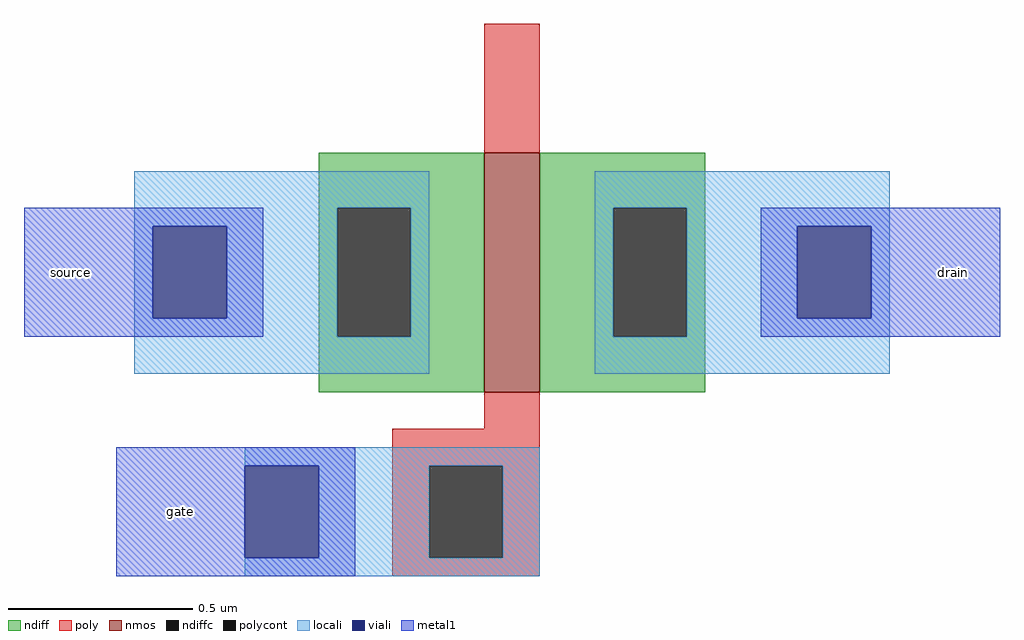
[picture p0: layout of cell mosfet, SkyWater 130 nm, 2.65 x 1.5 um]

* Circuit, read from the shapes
.subckt mosfet drain gate source
XM1 drain gate source VSUBS sky130_fd_pr__nfet_01v8 w=0.65 l=0.15
.ends

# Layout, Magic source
magic
tech sky130A
<< nmos >>
rect 5 30 20 95
<< ndiff >>
rect -40 80 5 95
rect -40 45 -35 80
rect -15 45 5 80
rect -40 30 5 45
rect 20 80 65 95
rect 20 45 40 80
rect 60 45 65 80
rect 20 30 65 45
<< ndiffc >>
rect -35 45 -15 80
rect 40 45 60 80
<< poly >>
rect 5 95 20 130
rect 5 20 20 30
rect -20 10 20 20
rect -20 -15 -10 10
rect 10 -15 20 10
rect -20 -20 20 -15
<< polycont >>
rect -10 -15 10 10
<< locali >>
rect -90 80 -10 90
rect -90 75 -35 80
rect -90 50 -85 75
rect -65 50 -35 75
rect -90 45 -35 50
rect -15 45 -10 80
rect -90 35 -10 45
rect 35 80 115 90
rect 35 45 40 80
rect 60 75 115 80
rect 60 50 90 75
rect 110 50 115 75
rect 60 45 115 50
rect 35 35 115 45
rect -60 10 20 15
rect -40 -15 -10 10
rect 10 -15 20 10
rect -60 -20 20 -15
<< viali >>
rect -85 50 -65 75
rect 90 50 110 75
rect -60 -15 -40 10
<< metal1 >>
rect -120 75 -55 80
rect -120 50 -85 75
rect -65 50 -55 75
rect -120 45 -55 50
rect 80 75 145 80
rect 80 50 90 75
rect 110 50 145 75
rect 80 45 145 50
rect -95 10 -30 15
rect -95 -15 -60 10
rect -40 -15 -30 10
rect -95 -20 -30 -15
<< labels >>
rlabel metal1 -115 55 -100 70 1 source
rlabel metal1 125 55 140 70 1 drain
rlabel metal1 -85 -10 -70 5 1 gate
<< end >>
